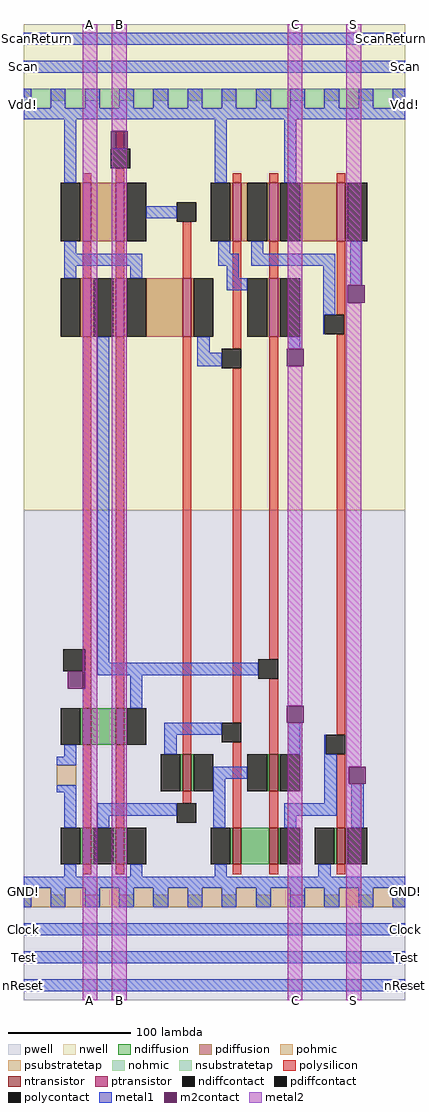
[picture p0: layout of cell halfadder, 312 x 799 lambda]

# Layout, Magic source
magic
tech c035u
<< nwell >>
rect 0 401 312 799
<< pwell >>
rect 0 0 312 401
<< polysilicon >>
rect 75 697 82 711
rect 48 669 55 677
rect 75 669 82 681
rect 171 669 178 677
rect 201 669 208 677
rect 256 669 263 677
rect 48 591 55 621
rect 75 591 82 621
rect 130 591 137 637
rect 48 287 55 543
rect 50 269 55 287
rect 48 239 55 269
rect 75 239 82 543
rect 48 141 55 209
rect 75 141 82 209
rect 130 201 137 543
rect 171 533 178 621
rect 201 591 208 621
rect 256 561 263 621
rect 262 545 263 561
rect 171 227 178 517
rect 201 279 208 543
rect 130 161 137 171
rect 171 141 178 211
rect 201 201 208 263
rect 256 217 263 545
rect 201 141 208 171
rect 256 141 263 201
rect 48 103 55 111
rect 75 103 82 111
rect 171 103 178 111
rect 201 103 208 111
rect 256 103 263 111
<< ndiffusion >>
rect 46 209 48 239
rect 55 209 75 239
rect 82 209 84 239
rect 128 171 130 201
rect 137 171 139 201
rect 199 171 201 201
rect 208 171 210 201
rect 46 111 48 141
rect 55 111 57 141
rect 73 111 75 141
rect 82 111 84 141
rect 169 111 171 141
rect 178 111 201 141
rect 208 111 210 141
rect 254 111 256 141
rect 263 111 265 141
<< pdiffusion >>
rect 46 621 48 669
rect 55 621 75 669
rect 82 621 84 669
rect 169 621 171 669
rect 178 621 183 669
rect 199 621 201 669
rect 208 621 210 669
rect 226 621 256 669
rect 263 621 265 669
rect 46 543 48 591
rect 55 543 57 591
rect 73 543 75 591
rect 82 543 84 591
rect 100 543 130 591
rect 137 543 139 591
rect 199 543 201 591
rect 208 543 210 591
<< pohmic >>
rect 0 76 6 86
rect 22 76 34 86
rect 50 76 62 86
rect 78 76 90 86
rect 106 76 118 86
rect 134 76 146 86
rect 162 76 174 86
rect 190 76 202 86
rect 218 76 230 86
rect 246 76 258 86
rect 274 76 286 86
rect 302 76 312 86
<< nohmic >>
rect 0 736 6 746
rect 22 736 34 746
rect 50 736 62 746
rect 78 736 90 746
rect 106 736 118 746
rect 134 736 146 746
rect 162 736 174 746
rect 190 736 202 746
rect 218 736 230 746
rect 246 736 258 746
rect 274 736 286 746
rect 302 736 312 746
<< ntransistor >>
rect 48 209 55 239
rect 75 209 82 239
rect 130 171 137 201
rect 201 171 208 201
rect 48 111 55 141
rect 75 111 82 141
rect 171 111 178 141
rect 201 111 208 141
rect 256 111 263 141
<< ptransistor >>
rect 48 621 55 669
rect 75 621 82 669
rect 171 621 178 669
rect 201 621 208 669
rect 256 621 263 669
rect 48 543 55 591
rect 75 543 82 591
rect 130 543 137 591
rect 201 543 208 591
<< polycontact >>
rect 71 681 87 697
rect 125 637 141 653
rect 32 269 50 287
rect 246 545 262 561
rect 162 517 178 533
rect 192 263 208 279
rect 162 211 178 227
rect 125 145 141 161
rect 247 201 263 217
<< ndiffcontact >>
rect 30 209 46 239
rect 84 209 100 239
rect 112 171 128 201
rect 139 171 155 201
rect 183 171 199 201
rect 210 171 226 201
rect 30 111 46 141
rect 57 111 73 141
rect 84 111 100 141
rect 153 111 169 141
rect 210 111 226 141
rect 238 111 254 141
rect 265 111 281 141
<< pdiffcontact >>
rect 30 621 46 669
rect 84 621 100 669
rect 153 621 169 669
rect 183 621 199 669
rect 210 621 226 669
rect 265 621 281 669
rect 30 543 46 591
rect 57 543 73 591
rect 84 543 100 591
rect 139 543 155 591
rect 183 543 199 591
rect 210 543 226 591
<< psubstratetap >>
rect 27 176 43 192
rect 6 76 22 92
rect 34 76 50 92
rect 62 76 78 92
rect 90 76 106 92
rect 118 76 134 92
rect 146 76 162 92
rect 174 76 190 92
rect 202 76 218 92
rect 230 76 246 92
rect 258 76 274 92
rect 286 76 302 92
<< nsubstratetap >>
rect 6 730 22 746
rect 34 730 50 746
rect 62 730 78 746
rect 90 730 106 746
rect 118 730 134 746
rect 146 730 162 746
rect 174 730 190 746
rect 202 730 218 746
rect 230 730 246 746
rect 258 730 274 746
rect 286 730 302 746
<< metal1 >>
rect 0 782 312 792
rect 0 759 312 769
rect 0 730 6 746
rect 22 730 34 746
rect 50 730 62 746
rect 78 730 90 746
rect 106 730 118 746
rect 134 730 146 746
rect 162 730 174 746
rect 190 730 202 746
rect 218 730 230 746
rect 246 730 258 746
rect 274 730 286 746
rect 302 730 312 746
rect 0 721 312 730
rect 33 669 43 721
rect 156 669 166 721
rect 213 669 223 721
rect 100 640 125 650
rect 33 611 43 621
rect 159 611 169 621
rect 186 611 196 621
rect 33 601 97 611
rect 159 601 176 611
rect 186 601 255 611
rect 33 591 43 601
rect 87 591 97 601
rect 166 591 176 601
rect 166 581 183 591
rect 245 561 255 601
rect 267 585 277 621
rect 245 545 246 561
rect 60 276 70 543
rect 142 530 152 543
rect 216 533 226 543
rect 142 519 162 530
rect 60 266 192 276
rect 87 239 97 266
rect 115 217 162 227
rect 33 199 43 209
rect 115 201 125 217
rect 216 201 226 227
rect 27 192 43 199
rect 27 170 43 176
rect 155 181 183 191
rect 33 141 43 170
rect 60 151 125 161
rect 60 141 70 151
rect 155 141 165 181
rect 246 201 247 217
rect 246 161 256 201
rect 213 151 256 161
rect 213 141 223 151
rect 268 141 278 177
rect 33 101 43 111
rect 87 101 97 111
rect 156 101 166 111
rect 241 101 251 111
rect 0 92 312 101
rect 0 76 6 92
rect 22 76 34 92
rect 50 76 62 92
rect 78 76 90 92
rect 106 76 118 92
rect 134 76 146 92
rect 162 76 174 92
rect 190 76 202 92
rect 218 76 230 92
rect 246 76 258 92
rect 274 76 286 92
rect 302 76 312 92
rect 0 53 312 63
rect 0 30 312 40
rect 0 7 312 17
<< m2contact >>
rect 71 697 85 711
rect 265 571 279 585
rect 36 255 50 269
rect 215 519 229 533
rect 215 227 229 241
rect 266 177 280 191
<< metal2 >>
rect 48 269 60 799
rect 72 711 84 799
rect 50 255 60 269
rect 48 0 60 255
rect 72 0 84 697
rect 216 533 228 799
rect 264 585 276 799
rect 264 571 265 585
rect 216 241 228 519
rect 216 0 228 227
rect 264 191 276 571
rect 264 177 266 191
rect 264 0 276 177
<< labels >>
rlabel metal2 48 0 60 0 1 A
rlabel metal2 72 0 84 0 1 B
rlabel metal2 216 0 228 0 1 C
rlabel metal2 264 0 276 0 1 S
rlabel metal2 264 799 276 799 5 S
rlabel metal2 216 799 228 799 5 C
rlabel metal2 72 799 84 799 5 B
rlabel metal2 48 799 60 799 5 A
rlabel metal1 0 76 0 101 3 GND!
rlabel metal1 0 53 0 63 3 Clock
rlabel metal1 0 30 0 40 3 Test
rlabel metal1 0 7 0 17 3 nReset
rlabel metal1 0 721 0 746 3 Vdd!
rlabel metal1 0 759 0 769 3 Scan
rlabel metal1 0 782 0 792 3 ScanReturn
rlabel metal1 312 76 312 101 7 GND!
rlabel metal1 312 53 312 63 7 Clock
rlabel metal1 312 30 312 40 7 Test
rlabel metal1 312 7 312 17 7 nReset
rlabel metal1 312 721 312 746 7 Vdd!
rlabel metal1 312 759 312 769 7 Scan
rlabel metal1 312 782 312 792 7 ScanReturn
<< end >>
